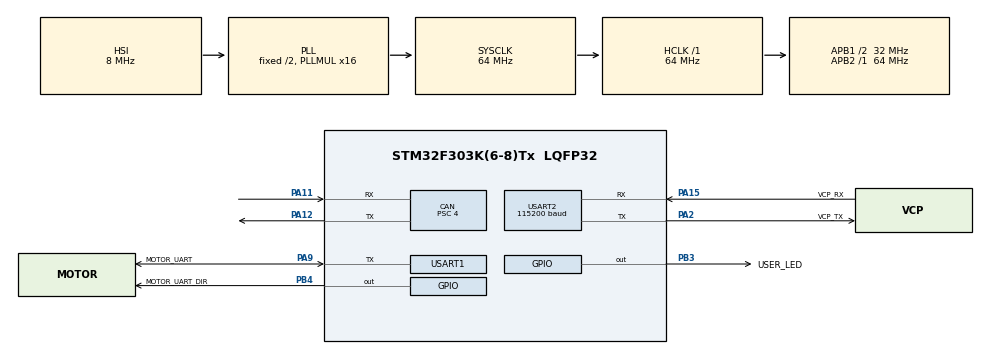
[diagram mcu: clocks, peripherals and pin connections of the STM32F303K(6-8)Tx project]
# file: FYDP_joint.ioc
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CAN.BS1=CAN_BS1_13TQ
CAN.BS2=CAN_BS2_2TQ
CAN.CalculateBaudRate=500000
CAN.CalculateTimeBit=2000
CAN.CalculateTimeQuantum=125.0
CAN.Prescaler=4
FREERTOS.INCLUDE_vTaskDelayUntil=1
FREERTOS.Tasks01=defaultTask,0,128,StartDefaultTask,Default,NULL,Dynamic,NULL,NULL;loggerTaskName,0,256,loggerTask,As external,NULL,Dynamic,NULL,NULL;servoMotorTaskN,2,1024,servoMotorTask,As external,NULL,Dynamic,NULL,NULL;canRxTaskName,2,256,canRxTask,As external,NULL,Dynamic,NULL,NULL;canTxTaskName,1,256,canTxTask,As external,NULL,Dynamic,NULL,NULL
FREERTOS.configCHECK_FOR_STACK_OVERFLOW=2
FREERTOS.configGENERATE_RUN_TIME_STATS=0
FREERTOS.configMINIMAL_STACK_SIZE=128
FREERTOS.configTOTAL_HEAP_SIZE=8500
FREERTOS.configUSE_COUNTING_SEMAPHORES=1
FREERTOS.configUSE_STATS_FORMATTING_FUNCTIONS=1
FREERTOS.configUSE_TRACE_FACILITY=1
Mcu.Family=STM32F3
Mcu.Name=STM32F303K(6-8)Tx
Mcu.Package=LQFP32
NVIC.CAN_RX0_IRQn=true\:5\:0\:false\:false\:true\:true\:true\:true\:true
NVIC.PriorityGroup=NVIC_PRIORITYGROUP_4
PA11.Mode=CAN_Activate
PA11.Signal=CAN_RX
PA12.Mode=CAN_Activate
PA12.Signal=CAN_TX
PA13.GPIO_Label=SWDIO
PA13.Mode=Serial_Wire
PA13.Signal=SYS_JTMS-SWDIO
PA14.GPIO_Label=SWCLK
PA14.Mode=Serial_Wire
PA14.Signal=SYS_JTCK-SWCLK
PA15.GPIO_Label=VCP_RX
PA15.Mode=Asynchronous
PA15.Signal=USART2_RX
PA2.GPIO_Label=VCP_TX
PA2.Mode=Asynchronous
PA2.Signal=USART2_TX
PA9.GPIO_Label=MOTOR_UART
PA9.GPIO_ModeDefaultOD=GPIO_MODE_AF_PP
PA9.GPIO_PuPd=GPIO_PULLUP
PA9.Mode=Half_duplex(single_wire_mode)
PA9.Signal=USART1_TX
PB3.GPIO_Label=USER_LED
PB3.PinState=GPIO_PIN_RESET
PB3.Signal=GPIO_Output
PB4.GPIO_Label=MOTOR_UART_DIR
PB4.GPIO_Speed=GPIO_SPEED_FREQ_HIGH
PB4.Signal=GPIO_Output
PF0\ /\ OSC_IN.GPIO_Label=MCO
PF0\ /\ OSC_IN.Mode=HSE-External-Clock-Source
PF0\ /\ OSC_IN.Signal=RCC_OSC_IN
ProjectManager.HeapSize=0x200
ProjectManager.StackSize=0x400
ProjectManager.TargetToolchain=STM32CubeIDE
RCC.AHBFreq_Value=64000000
RCC.APB1CLKDivider=RCC_HCLK_DIV2
RCC.APB1Freq_Value=32000000
RCC.APB1TimFreq_Value=64000000
RCC.APB2Freq_Value=64000000
RCC.APB2TimFreq_Value=64000000
RCC.CortexFreq_Value=64000000
RCC.HCLKFreq_Value=64000000
RCC.HSE_VALUE=8000000
RCC.HSI_VALUE=8000000
RCC.PLLMUL=RCC_PLL_MUL16
RCC.SYSCLKFreq_VALUE=64000000
RCC.SYSCLKSourceVirtual=RCC_SYSCLKSOURCE_PLLCLK
USART1.BaudRate=115200
USART1.VirtualMode-Half_duplex(single_wire_mode)=VM_ASYNC
USART2.BaudRate=115200
USART2.VirtualMode-Asynchronous=VM_ASYNC
VP_FREERTOS_VS_CMSIS_V1.Mode=CMSIS_V1
board=NUCLEO-F303K8

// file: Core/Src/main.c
/* USER CODE BEGIN Header */
/**
  ******************************************************************************
  * @file           : main.c
  * @brief          : Main program body
  ******************************************************************************
  * @attention
  *
  * Copyright (c) 2026 STMicroelectronics.
  * All rights reserved.
  *
  * This software is licensed under terms that can be found in the LICENSE file
  * in the root directory of this software component.
  * If no LICENSE file comes with this software, it is provided AS-IS.
  *
  ******************************************************************************
  */
/* USER CODE END Header */
#include "main.h"
#include "cmsis_os.h"
#include "can.h"
#include "usart.h"
#include "gpio.h"

/* USER CODE BEGIN Includes */
#include "bsp.h"
/* USER CODE END Includes */

void SystemClock_Config(void);
void MX_FREERTOS_Init(void);

int main(void)
{

  /* MCU Configuration--------------------------------------------------------*/

  /* Reset of all peripherals, Initializes the Flash interface and the Systick. */
  HAL_Init();

  /* Configure the system clock */
  SystemClock_Config();

  /* Initialize all configured peripherals */
  MX_GPIO_Init();
  MX_CAN_Init();
  MX_USART1_UART_Init();
  MX_USART2_UART_Init();

  /* Call init function for freertos objects (in cmsis_os2.c) */
  MX_FREERTOS_Init();

  /* Start scheduler */
  osKernelStart();

  /* We should never get here as control is now taken by the scheduler */

  /* Infinite loop */
  while (1)
  {

  }
}

void SystemClock_Config(void)
{
  RCC_OscInitTypeDef RCC_OscInitStruct = {0};
  RCC_ClkInitTypeDef RCC_ClkInitStruct = {0};
  RCC_PeriphCLKInitTypeDef PeriphClkInit = {0};

  /** Initializes the RCC Oscillators according to the specified parameters
  * in the RCC_OscInitTypeDef structure.
  */
  RCC_OscInitStruct.OscillatorType = RCC_OSCILLATORTYPE_HSI;
  RCC_OscInitStruct.HSIState = RCC_HSI_ON;
  RCC_OscInitStruct.HSICalibrationValue = RCC_HSICALIBRATION_DEFAULT;
  RCC_OscInitStruct.PLL.PLLState = RCC_PLL_ON;
  RCC_OscInitStruct.PLL.PLLSource = RCC_PLLSOURCE_HSI;
  RCC_OscInitStruct.PLL.PLLMUL = RCC_PLL_MUL16;
  if (HAL_RCC_OscConfig(&RCC_OscInitStruct) != HAL_OK)
  {
    Error_Handler();
  }

  /** Initializes the CPU, AHB and APB buses clocks
  */
  RCC_ClkInitStruct.ClockType = RCC_CLOCKTYPE_HCLK|RCC_CLOCKTYPE_SYSCLK
                              |RCC_CLOCKTYPE_PCLK1|RCC_CLOCKTYPE_PCLK2;
  RCC_ClkInitStruct.SYSCLKSource = RCC_SYSCLKSOURCE_PLLCLK;
  RCC_ClkInitStruct.AHBCLKDivider = RCC_SYSCLK_DIV1;
  RCC_ClkInitStruct.APB1CLKDivider = RCC_HCLK_DIV2;
  RCC_ClkInitStruct.APB2CLKDivider = RCC_HCLK_DIV1;

  if (HAL_RCC_ClockConfig(&RCC_ClkInitStruct, FLASH_LATENCY_2) != HAL_OK)
  {
    Error_Handler();
  }
  PeriphClkInit.PeriphClockSelection = RCC_PERIPHCLK_USART1;
  PeriphClkInit.Usart1ClockSelection = RCC_USART1CLKSOURCE_PCLK1;
  if (HAL_RCCEx_PeriphCLKConfig(&PeriphClkInit) != HAL_OK)
  {
    Error_Handler();
  }
}

void Error_Handler(void)
{
  __disable_irq();
  while (1)
  {
  }
}

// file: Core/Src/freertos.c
/* USER CODE BEGIN Header */
/**
  ******************************************************************************
  * File Name          : freertos.c
  * Description        : Code for freertos applications
  ******************************************************************************
  * @attention
  *
  * Copyright (c) 2026 STMicroelectronics.
  * All rights reserved.
  *
  * This software is licensed under terms that can be found in the LICENSE file
  * in the root directory of this software component.
  * If no LICENSE file comes with this software, it is provided AS-IS.
  *
  ******************************************************************************
  */
/* USER CODE END Header */

#include "FreeRTOS.h"
#include "task.h"
#include "main.h"
#include "cmsis_os.h"

/* USER CODE BEGIN Includes */
#include "logger.h"
#include "app_config.h"
#include "bsp.h"
/* USER CODE END Includes */

/* USER CODE BEGIN Variables */
#ifdef ENABLE_CLI
osThreadId cliConsoleTaskNHandle;
#endif
/* USER CODE END Variables */
osThreadId defaultTaskHandle;
osThreadId loggerTaskNameHandle;
osThreadId servoMotorTaskNHandle;
osThreadId canRxTaskNameHandle;
osThreadId canTxTaskNameHandle;

/* USER CODE BEGIN FunctionPrototypes */
#ifdef ENABLE_CLI
extern void cliConsoleTask(void const * argument);
#endif
/* USER CODE END FunctionPrototypes */

void StartDefaultTask(void const * argument);
extern void loggerTask(void const * argument);
extern void servoMotorTask(void const * argument);
extern void canRxTask(void const * argument);
extern void canTxTask(void const * argument);

void MX_FREERTOS_Init(void); /* (MISRA C 2004 rule 8.1) */

/* GetIdleTaskMemory prototype (linked to static allocation support) */
void vApplicationGetIdleTaskMemory( StaticTask_t **ppxIdleTaskTCBBuffer, StackType_t **ppxIdleTaskStackBuffer, uint32_t *pulIdleTaskStackSize );

/* Hook prototypes */
void vApplicationStackOverflowHook(xTaskHandle xTask, signed char *pcTaskName);

/* USER CODE BEGIN 4 */
__weak void vApplicationStackOverflowHook(xTaskHandle xTask, signed char *pcTaskName)
{
   /* Run time stack overflow checking is performed if
   configCHECK_FOR_STACK_OVERFLOW is defined to 1 or 2. This hook function is
   called if a stack overflow is detected. */
}
/* USER CODE END 4 */

/* USER CODE BEGIN GET_IDLE_TASK_MEMORY */
static StaticTask_t xIdleTaskTCBBuffer;
static StackType_t xIdleStack[configMINIMAL_STACK_SIZE];

void vApplicationGetIdleTaskMemory( StaticTask_t **ppxIdleTaskTCBBuffer, StackType_t **ppxIdleTaskStackBuffer, uint32_t *pulIdleTaskStackSize )
{
  *ppxIdleTaskTCBBuffer = &xIdleTaskTCBBuffer;
  *ppxIdleTaskStackBuffer = &xIdleStack[0];
  *pulIdleTaskStackSize = configMINIMAL_STACK_SIZE;
  /* place for user code */
}
/* USER CODE END GET_IDLE_TASK_MEMORY */

void MX_FREERTOS_Init(void) {
  /* USER CODE BEGIN Init */
  logger_init();
  /* USER CODE END Init */

  /* Create the thread(s) */
  /* definition and creation of defaultTask */
  osThreadDef(defaultTask, StartDefaultTask, osPriorityNormal, 0, 128);
  defaultTaskHandle = osThreadCreate(osThread(defaultTask), NULL);

  /* definition and creation of loggerTaskName */
  osThreadDef(loggerTaskName, loggerTask, osPriorityNormal, 0, 256);
  loggerTaskNameHandle = osThreadCreate(osThread(loggerTaskName), NULL);

  /* definition and creation of servoMotorTaskN */
  osThreadDef(servoMotorTaskN, servoMotorTask, osPriorityHigh, 0, 1024);
  servoMotorTaskNHandle = osThreadCreate(osThread(servoMotorTaskN), NULL);

  /* definition and creation of canRxTaskName */
  osThreadDef(canRxTaskName, canRxTask, osPriorityHigh, 0, 256);
  canRxTaskNameHandle = osThreadCreate(osThread(canRxTaskName), NULL);

  /* definition and creation of canTxTaskName */
  osThreadDef(canTxTaskName, canTxTask, osPriorityAboveNormal, 0, 256);
  canTxTaskNameHandle = osThreadCreate(osThread(canTxTaskName), NULL);

  /* USER CODE BEGIN RTOS_THREADS */
  /* add threads, ... */
  #ifdef ENABLE_CLI
  /* definition and creation of cliConsoleTaskN */
  osThreadDef(cliConsoleTaskN, cliConsoleTask, osPriorityLow, 0, 128);
  cliConsoleTaskNHandle = osThreadCreate(osThread(cliConsoleTaskN), NULL);
  if (cliConsoleTaskNHandle == NULL) {
      LOG_ERROR("Failed to create CLI console task\r\n");
      // print out remaining heap size for debugging
      LOG_ERROR("Free heap size: %u bytes\r\n", xPortGetFreeHeapSize());
  }
  #endif
  /* USER CODE END RTOS_THREADS */

}

void StartDefaultTask(void const * argument)
{
  /* USER CODE BEGIN StartDefaultTask */

  LOG_INFO("=== OMNI-ROBOT booted ===\r\n");
  LOG_INFO("FW built: %s %s\r\n", __DATE__, __TIME__);
  /* Infinite loop */
  for(;;)
  {
    HAL_GPIO_TogglePin(LED_GPIO_PORT, LED_PIN);
    osDelay(1000);
  }
  /* USER CODE END StartDefaultTask */
}
